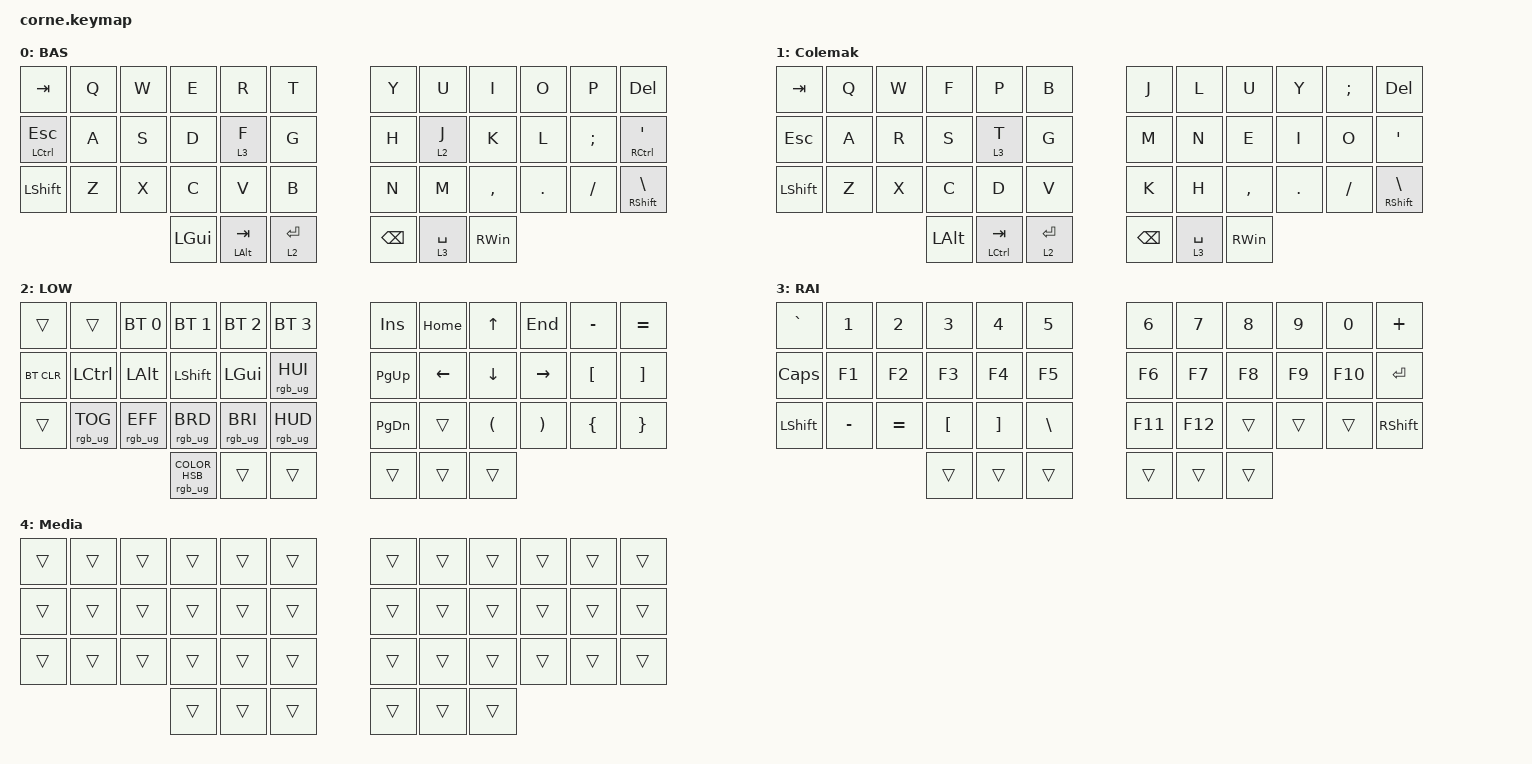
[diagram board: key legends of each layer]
/*
 * Copyright (c) 2020 The ZMK Contributors
 *
 * SPDX-License-Identifier: MIT
 */

#include <dt-bindings/led/led.h>
#include <dt-bindings/zmk/reset.h>
#include <behaviors.dtsi>
#include <dt-bindings/zmk/bt.h>
#include <dt-bindings/zmk/keys.h>
#include <dt-bindings/zmk/rgb.h>

&led_strip { chain-length = <27>; };

/ {
    combos {
        compatible = "zmk,combos";

        Colemak {
            bindings = <&tog 1>;
            key-positions = <0 11>;
        };
    };

    behaviors {
        up_arrow: up_arrow {
            compatible = "zmk,behavior-mod-morph";
            label = "UP_ARROW";
            bindings = <&kp I>, <&kp UP_ARROW>;

            #binding-cells = <0>;
            mods = <(MOD_LALT)>;
            keep-mods = <(MOD_LALT)>;
        };

        left_arrow: left_arrow {
            compatible = "zmk,behavior-mod-morph";
            label = "LEFT_ARROW";
            bindings = <&kp J>, <&kp LEFT_ARROW>;

            #binding-cells = <0>;
            mods = <(MOD_LALT)>;
            keep-mods = <(MOD_LALT)>;
        };

        down_arrow: down_arrow {
            compatible = "zmk,behavior-mod-morph";
            label = "DOWN_ARROW";
            bindings = <&kp K>, <&kp DOWN_ARROW>;

            #binding-cells = <0>;
            mods = <(MOD_LALT)>;
            keep-mods = <(MOD_LALT)>;
        };

        right_arrow: right_arrow {
            compatible = "zmk,behavior-mod-morph";
            label = "RIGHT_ARROW";
            bindings = <&kp L>, <&kp RIGHT_ARROW>;

            #binding-cells = <0>;
            mods = <(MOD_LALT)>;
            keep-mods = <(MOD_LALT)>;
        };

        DT_TabEsc: DT_TabEsc {
            compatible = "zmk,behavior-tap-dance";
            label = "DT_TABESC";
            #binding-cells = <0>;
            bindings = <&kp TAB>, <&kp ESC>;

            tapping-term-ms = <350>;
        };

        HML: HML {
            compatible = "zmk,behavior-hold-tap";
            label = "HML";
            bindings = <&kp>, <&kp>;

            #binding-cells = <2>;
            tapping-term-ms = <200>;
            flavor = "balanced";
            hold-trigger-on-release;
            hold-trigger-key-positions = <6 7 8 9 10 11 18 19 20 21 22 23 30 31 32 33 34 35 39 40 41>;
            require-prior-idle-ms = <125>;
            quick-tap-ms = <175>;
            retro-tap;
        };
    };

    keymap {
        compatible = "zmk,keymap";

        default_layer {
            display-name = "BAS";

            // -----------------------------------------------------------------------------------------
            // |  ESC |  Q  |  W  |  E  |  R  |  T  |   |  Y  |  U   |  I  |  O  |  P  | BKSP |
            // | SHFT |  A  |  S  |  D  |  F  |  G  |   |  H  |  J   |  K  |  L  |  ;  |  '   |
            // | ALT |  Z  |  X  |  C  |  V  |  B  |   |  N  |  M   |  ,  |  .  |  /  | GUI  |
            //                    | TAB | LWR | ENT |   | SPC | RSE  | ALT |

            bindings = <
&kp TAB               &kp Q  &kp W  &kp E         &kp R             &kp T        &kp Y          &kp U        &kp I      &kp O    &kp P     &kp DEL
&mt LEFT_CONTROL ESC  &kp A  &kp S  &kp D         &lt 3 F           &kp G        &kp H          &lt 2 J      &kp K      &kp L    &kp SEMI  &mt RIGHT_CONTROL APOS
&kp LSHFT             &kp Z  &kp X  &kp C         &kp V             &kp B        &kp N          &kp M        &kp COMMA  &kp DOT  &kp FSLH  &mt RSHIFT BACKSLASH
                                    &kp LEFT_GUI  &mt LEFT_ALT TAB  &lt 2 RET    &kp BACKSPACE  &lt 3 SPACE  &kp RWIN
            >;
        };

        Colemak {
            display-name = "Colemak";
            bindings = <
&kp TAB    &kp Q  &kp W  &kp F         &kp P                 &kp B        &kp J          &kp L        &kp U      &kp Y       &kp SEMICOLON  &kp DEL
&kp ESC    &kp A  &kp R  &kp S         &lt 3 T               &kp G        &kp M          &kp N        &kp E      &kp I       &kp O          &kp APOSTROPHE
&kp LSHFT  &kp Z  &kp X  &kp C         &kp D                 &kp V        &kp K          &kp H        &kp COMMA  &kp PERIOD  &kp SLASH      &mt RSHIFT BACKSLASH
                         &kp LEFT_ALT  &mt LEFT_CONTROL TAB  &lt 2 RET    &kp BACKSPACE  &lt 3 SPACE  &kp RWIN
            >;

            label = "Colemak";
        };

        lower_layer {
            display-name = "LOW";

            // -----------------------------------------------------------------------------------------
            // |  TAB |  1  |  2  |  3  |  4  |  5  |     |  6  |  7  |  8  |  9  |  0  | BKSP |
            // | LCTRL| BTCLR | BT0 | BT1 | BT2 | BT3 |   |     |     |  UP |     |     |      |
            // | ESC  |       | HOME| PGUP| PGDN| END |   |     | LFT | DWN | RGT |     |      |
            //                    | GUI |     | SPC |   | ENT |     | ALT |

            bindings = <
&trans      &trans            &bt BT_SEL 0     &bt BT_SEL 1                      &bt BT_SEL 2     &bt BT_SEL 3       &kp INS        &kp HOME  &kp UP                &kp END                &kp MINUS         &kp EQUAL
&bt BT_CLR  &kp LEFT_CONTROL  &kp LEFT_ALT     &kp LEFT_SHIFT                    &kp LEFT_GUI     &rgb_ug RGB_HUI    &kp PAGE_UP    &kp LEFT  &kp DOWN              &kp RIGHT              &kp LEFT_BRACKET  &kp RIGHT_BRACKET
&trans      &rgb_ug RGB_TOG   &rgb_ug RGB_EFF  &rgb_ug RGB_BRD                   &rgb_ug RGB_BRI  &rgb_ug RGB_HUD    &kp PAGE_DOWN  &trans    &kp LEFT_PARENTHESIS  &kp RIGHT_PARENTHESIS  &kp LEFT_BRACE    &kp RIGHT_BRACE
                                               &rgb_ug RGB_COLOR_HSB(297,86,35)  &trans           &trans             &trans         &trans    &trans
            >;
        };

        raise_layer {
            display-name = "RAI";

            // -----------------------------------------------------------------------------------------
            // |  TAB |  !  |  @  |  #  |  $  |  %  |   |  ^  |  &  |  *  |  (  |  )  | BKSP |
            // | CTRL |RGB_TOG|RGB_HUI|RGB_SAI|RGB_VAI|       |   |  -  |  =  |  [  |  ]  |  \  |  `   |
            // | SHFT |RGB_MOD|RGB_HUD|RGB_SAD|RGB_VAD|QK_BOOT|   |  _  |  +  |  {  |  }  | "|" |  ~   |
            //                    | GUI |     | SPC |   | ENT |     | ALT |

            bindings = <
&kp GRAVE       &kp NUMBER_1  &kp NUMBER_2  &kp NUMBER_3      &kp NUMBER_4       &kp N5           &kp NUMBER_6  &kp N7   &kp N8  &kp N9  &kp N0   &kp PLUS
&kp CAPS        &kp F1        &kp F2        &kp F3            &kp F4             &kp F5           &kp F6        &kp F7   &kp F8  &kp F9  &kp F10  &kp ENTER
&kp LEFT_SHIFT  &kp MINUS     &kp EQUAL     &kp LEFT_BRACKET  &kp RIGHT_BRACKET  &kp BACKSLASH    &kp F11       &kp F12  &trans  &trans  &trans   &kp RIGHT_SHIFT
                                            &trans            &trans             &trans           &trans        &trans   &trans
            >;
        };

        Media_Layer {
            bindings = <
&trans  &trans  &trans  &trans  &trans  &trans    &trans  &trans  &trans  &trans  &trans  &trans
&trans  &trans  &trans  &trans  &trans  &trans    &trans  &trans  &trans  &trans  &trans  &trans
&trans  &trans  &trans  &trans  &trans  &trans    &trans  &trans  &trans  &trans  &trans  &trans
                        &trans  &trans  &trans    &trans  &trans  &trans
            >;

            label = "Media";
        };
    };
};
